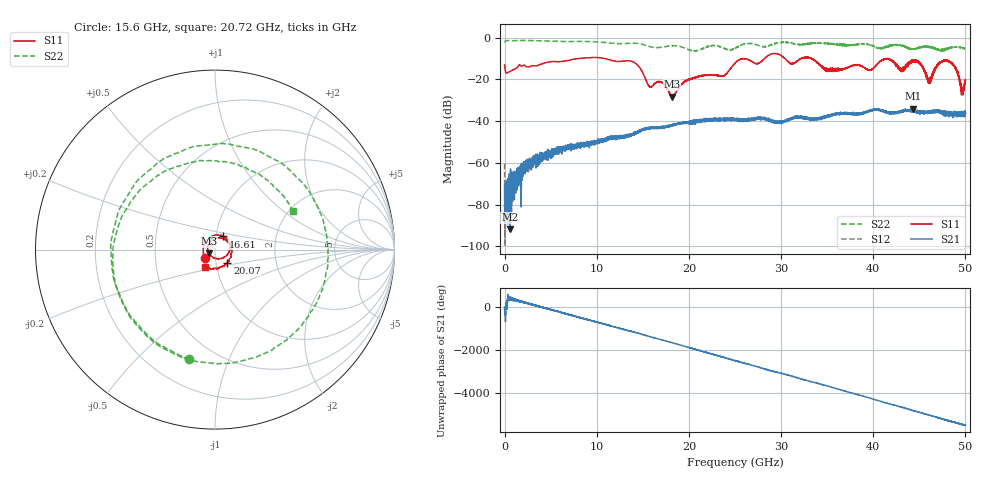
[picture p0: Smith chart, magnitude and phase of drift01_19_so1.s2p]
!Created with skrf (http://scikit-rf.org).
# Hz S RI R 50.0
!freq ReS11 ImS11 ReS21 ImS21 ReS12 ImS12 ReS22 ImS22
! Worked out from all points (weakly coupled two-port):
!   10001 points, 300 kHz to 50 GHz, reference 50 ohm
!   highest |S21| = -34.12 dB at 44.3 GHz (marker M1); lowest = -91.8 dB at 560.3 MHz (marker M2)
!   lowest |S11| = -28.2 dB at 18.17 GHz (marker M3), VSWR 1.08, Z = 46.7 - j1.84 ohm
!   |S11| at or under -10 dB: 10.87 GHz to 25.99 GHz (15.12 GHz wide, 82 % of centre); 33.27 GHz to 41.4 GHz (8.13 GHz wide, 21.8 % of centre); 41.41 GHz to end of sweep (the widest 3 of 12)
!   |S22| runs from -6.6 to -1.4 dB; largest |S21 - S12| = 0.0043
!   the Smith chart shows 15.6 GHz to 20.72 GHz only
!   S11 on the Smith chart (normalised r, x): 15.6 GHz: 0.89, -0.08; 16.61 GHz: 1.09, +0.16; 20.07 GHz: 1.14, -0.17; 20.72 GHz: 0.88, -0.17
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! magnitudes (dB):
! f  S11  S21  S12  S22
! 300 kHz  -13.1  -70.9  -60.4  -2.1
! 255.3 MHz  -16.9  -72.2  -77.2  -1.4
! 560.3 MHz  -16.2  -91.8  -75.1  -1.4
! 2.88 GHz  -13.6  -61.1  -61.3  -1.4
! 8.335 GHz  -9.9  -51.7  -52.3  -1.8
! 13.88 GHz  -11.5  -46.7  -46.4  -2.7
! 15.6 GHz  -22.8  -43.2  -43.5  -4.0
! 16.61 GHz  -21.2  -43.2  -43.1  -4.8
! 16.67 GHz  -21.1  -43.1  -43.1  -4.8
! 18.17 GHz  -28.2  -41.8  -41.7  -3.9
! 20.07 GHz  -20.0  -40.8  -40.4  -5.9
! 20.72 GHz  -19.0  -40.5  -40.3  -6.3
! 25 GHz  -12.2  -39.8  -39.7  -5.1
! 33.34 GHz  -10.1  -39.1  -39.2  -2.7
! 35.25 GHz  -15.1  -37.4  -37.1  -2.9
! 41.67 GHz  -10.4  -36.0  -36.0  -4.4
! 43.03 GHz  -15.7  -35.1  -35.2  -3.6
! 44.3 GHz  -11.5  -34.1  -35.1  -5.4
! 46.09 GHz  -21.2  -35.3  -35.8  -4.3
! 48.12 GHz  -11.0  -36.0  -36.2  -5.2
! 49.64 GHz  -25.3  -37.0  -36.7  -4.8
! 50 GHz  -20.3  -35.9  -36.2  -5.4
